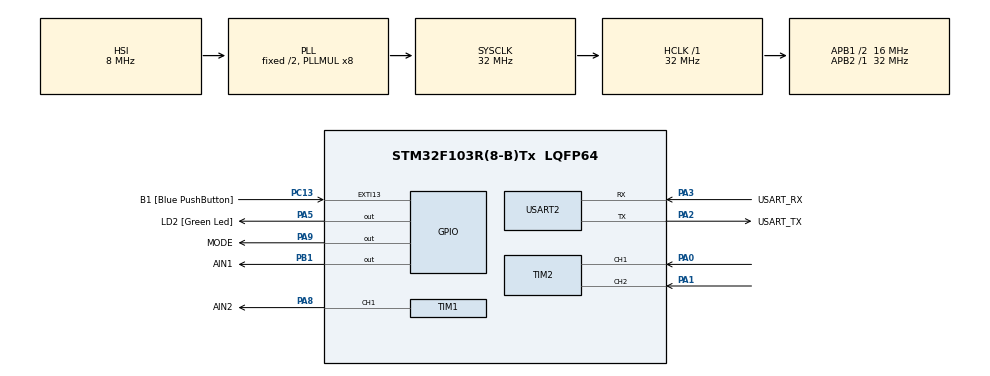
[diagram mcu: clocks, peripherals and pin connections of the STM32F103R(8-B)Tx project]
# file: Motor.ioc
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Mcu.Family=STM32F1
PA2.GPIO_PuPd=GPIO_NOPULL
PA14.GPIO_Label=TCK
PA3.GPIO_PuPd=GPIO_NOPULL
PA2.GPIO_Speed=GPIO_SPEED_FREQ_LOW
TIM2.EncoderMode=TIM_ENCODERMODE_TI12
PA3.GPIO_Speed=GPIO_SPEED_FREQ_LOW
RCC.SYSCLKSource=RCC_SYSCLKSOURCE_PLLCLK
ProjectManager.StackSize=0x400
PD1-OSC_OUT.Signal=RCC_OSC_OUT
TIM1.Prescaler=32-1
RCC.HCLKFreq_Value=32000000
RCC.APB2TimFreq_Value=32000000
RCC.AHBFreq_Value=32000000
NVIC.EXTI15_10_IRQn=true\:0\:0\:false\:false\:true\:true\:true
RCC.RTCClockSelection=RCC_RTCCLKSOURCE_LSE
RCC.PLLMUL=RCC_PLL_MUL8
PC14-OSC32_IN.Mode=LSE-External-Oscillator
TIM1.Channel-PWM\ Generation1\ CH1=TIM_CHANNEL_1
PA14.Mode=Serial_Wire
PA5.GPIO_PuPd=GPIO_NOPULL
PB1.GPIO_Label=AIN1
PA8.Signal=S_TIM1_CH1
TIM4.Period=1000-1
VP_TIM1_VS_ClockSourceINT.Mode=Internal
Mcu.Package=LQFP64
PB1.Signal=GPIO_Output
USART2.VirtualMode=VM_ASYNC
PC13-TAMPER-RTC.GPIO_PuPd=GPIO_NOPULL
PA2.GPIO_Label=USART_TX
RCC.APB1TimFreq_Value=32000000
TIM1.Period=1000-1
PA3.Signal=USART2_RX
PA2.GPIO_Mode=GPIO_MODE_AF_PP
PB3.GPIO_Label=SWO
PC15-OSC32_OUT.Mode=LSE-External-Oscillator
TIM4.AutoReloadPreload=TIM_AUTORELOAD_PRELOAD_DISABLE
PD1-OSC_OUT.Mode=HSE-External-Clock-Source
PA9.GPIO_Label=MODE
PC13-TAMPER-RTC.Signal=GPXTI13
PD0-OSC_IN.Signal=RCC_OSC_IN
RCC.APB1CLKDivider=RCC_HCLK_DIV2
PC14-OSC32_IN.Signal=RCC_OSC32_IN
PA0-WKUP.Signal=S_TIM2_CH1_ETR
PA13.Signal=SYS_JTMS-SWDIO
PA3.Mode=Asynchronous
SH.S_TIM2_CH2.0=TIM2_CH2,Encoder_Interface
PA8.GPIO_Label=AIN2
SH.S_TIM1_CH1.0=TIM1_CH1,PWM Generation1 CH1
ProjectManager.TargetToolchain=STM32CubeIDE
PA3.GPIO_Mode=GPIO_MODE_AF_PP
PA9.Signal=GPIO_Output
RCC.USBFreq_Value=32000000
TIM4.Prescaler=32000-1
PC15-OSC32_OUT.Signal=RCC_OSC32_OUT
PA1.Signal=S_TIM2_CH2
PD0-OSC_IN.Mode=HSE-External-Clock-Source
PA5.Signal=GPIO_Output
board=NUCLEO-F103RB
PC13-TAMPER-RTC.GPIO_Label=B1 [Blue PushButton]
RCC.APB2Freq_Value=32000000
PA5.GPIO_ModeDefaultOutputPP=GPIO_MODE_OUTPUT_PP
PA13.Mode=Serial_Wire
Mcu.Name=STM32F103R(8-B)Tx
PA13.GPIO_Label=TMS
PA2.Signal=USART2_TX
PB3.Signal=SYS_JTDO-TRACESWO
RCC.SYSCLKFreq_VALUE=32000000
PA5.GPIO_Label=LD2 [Green Led]
SH.S_TIM2_CH1_ETR.0=TIM2_CH1,Encoder_Interface
PA14.Signal=SYS_JTCK-SWCLK
ProjectManager.HeapSize=0x200
VP_TIM4_VS_ClockSourceINT.Mode=Internal
PA5.GPIO_Speed=GPIO_SPEED_FREQ_LOW
NVIC.PriorityGroup=NVIC_PRIORITYGROUP_4
PA2.Mode=Asynchronous
NVIC.TIM4_IRQn=true\:0\:0\:false\:false\:true\:true\:true
RCC.APB1Freq_Value=16000000
PA3.GPIO_Label=USART_RX

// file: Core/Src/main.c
/* USER CODE BEGIN Header */
/**
  ******************************************************************************
  * @file           : main.c
  * @brief          : Main program body
  ******************************************************************************
  * @attention
  *
  * <h2><center>&copy; Copyright (c) 2021 STMicroelectronics.
  * All rights reserved.</center></h2>
  *
  * This software component is licensed by ST under BSD 3-Clause license,
  * the "License"; You may not use this file except in compliance with the
  * License. You may obtain a copy of the License at:
  *                        opensource.org/licenses/BSD-3-Clause
  *
  ******************************************************************************
  */
/* USER CODE END Header */
#include "main.h"

/* USER CODE BEGIN Includes */
#include "stdio.h"
/* USER CODE END Includes */

TIM_HandleTypeDef htim1;
TIM_HandleTypeDef htim2;
TIM_HandleTypeDef htim4;

UART_HandleTypeDef huart2;

void SystemClock_Config(void);
static void MX_GPIO_Init(void);
static void MX_USART2_UART_Init(void);
static void MX_TIM1_Init(void);
static void MX_TIM2_Init(void);
static void MX_TIM4_Init(void);

/* USER CODE BEGIN 0 */
int __io_putchar(int ch){
    HAL_UART_Transmit(&huart2, (uint8_t *)&ch, 1, 100);
    return ch;
}

uint16_t read_encoder(void){
  uint16_t enc_buff = TIM2->CNT;
  TIM2->CNT = 0;
  return enc_buff;
}
/* USER CODE END 0 */

int main(void)
{

  /* MCU Configuration--------------------------------------------------------*/

  /* Reset of all peripherals, Initializes the Flash interface and the Systick. */
  HAL_Init();

  /* Configure the system clock */
  SystemClock_Config();

  /* Initialize all configured peripherals */
  MX_GPIO_Init();
  MX_USART2_UART_Init();
  MX_TIM1_Init();
  MX_TIM2_Init();
  MX_TIM4_Init();
  /* USER CODE BEGIN 2 */
  HAL_GPIO_WritePin(GPIOA, GPIO_PIN_9, 1);	// Mode selection
  // uint16_t count=0;
  HAL_TIM_Encoder_Start(&htim2, TIM_CHANNEL_ALL); // Start encoder
  HAL_GPIO_WritePin(GPIOB, GPIO_PIN_1, 1);	// Rotation direction
  setbuf(stdout, NULL);
  /* USER CODE END 2 */

  /* Infinite loop */
  /* USER CODE BEGIN WHILE */
  while (1)
  {
	HAL_GPIO_WritePin(GPIOB, GPIO_PIN_1, 1);	// Rotation direction
	__HAL_TIM_SET_COMPARE(&htim1, TIM_CHANNEL_1, 500);	// Sets the duty ratio, maximum value = Counter Period
	HAL_TIM_PWM_Start(&htim1, TIM_CHANNEL_1);	// Start PWM output
	// printf("Motor rotating... \n\r");
	HAL_Delay(1000);	// Rotate for 1 second
	// HAL_TIM_PWM_Stop(&htim1, TIM_CHANNEL_1);	// Stop PWM output
	// printf("Motor stopped... \n\r");
	// HAL_Delay(1000);	// Stop for 1 second
	/*
    // Reading the encoder value
	printf("Checking encoder... \n\r");
    count += read_encoder();    // Reading the encoder's value
    printf("Counted: %d\n\r",count);  // Display count value
    HAL_Delay(100);   // Wait a bit
	printf("Counted: %d\n\r",count);  // Display count value
	*/
    /* USER CODE END WHILE */

  }
}

void SystemClock_Config(void)
{
  RCC_OscInitTypeDef RCC_OscInitStruct = {0};
  RCC_ClkInitTypeDef RCC_ClkInitStruct = {0};

  /** Initializes the RCC Oscillators according to the specified parameters
  * in the RCC_OscInitTypeDef structure.
  */
  RCC_OscInitStruct.OscillatorType = RCC_OSCILLATORTYPE_HSI;
  RCC_OscInitStruct.HSIState = RCC_HSI_ON;
  RCC_OscInitStruct.HSICalibrationValue = RCC_HSICALIBRATION_DEFAULT;
  RCC_OscInitStruct.PLL.PLLState = RCC_PLL_ON;
  RCC_OscInitStruct.PLL.PLLSource = RCC_PLLSOURCE_HSI_DIV2;
  RCC_OscInitStruct.PLL.PLLMUL = RCC_PLL_MUL8;
  if (HAL_RCC_OscConfig(&RCC_OscInitStruct) != HAL_OK)
  {
    Error_Handler();
  }
  /** Initializes the CPU, AHB and APB buses clocks
  */
  RCC_ClkInitStruct.ClockType = RCC_CLOCKTYPE_HCLK|RCC_CLOCKTYPE_SYSCLK
                              |RCC_CLOCKTYPE_PCLK1|RCC_CLOCKTYPE_PCLK2;
  RCC_ClkInitStruct.SYSCLKSource = RCC_SYSCLKSOURCE_PLLCLK;
  RCC_ClkInitStruct.AHBCLKDivider = RCC_SYSCLK_DIV1;
  RCC_ClkInitStruct.APB1CLKDivider = RCC_HCLK_DIV2;
  RCC_ClkInitStruct.APB2CLKDivider = RCC_HCLK_DIV1;

  if (HAL_RCC_ClockConfig(&RCC_ClkInitStruct, FLASH_LATENCY_1) != HAL_OK)
  {
    Error_Handler();
  }
}

static void MX_TIM1_Init(void)
{

  TIM_ClockConfigTypeDef sClockSourceConfig = {0};
  TIM_MasterConfigTypeDef sMasterConfig = {0};
  TIM_OC_InitTypeDef sConfigOC = {0};
  TIM_BreakDeadTimeConfigTypeDef sBreakDeadTimeConfig = {0};

  htim1.Instance = TIM1;
  htim1.Init.Prescaler = 32-1;
  htim1.Init.CounterMode = TIM_COUNTERMODE_UP;
  htim1.Init.Period = 1000-1;
  htim1.Init.ClockDivision = TIM_CLOCKDIVISION_DIV1;
  htim1.Init.RepetitionCounter = 0;
  htim1.Init.AutoReloadPreload = TIM_AUTORELOAD_PRELOAD_DISABLE;
  if (HAL_TIM_Base_Init(&htim1) != HAL_OK)
  {
    Error_Handler();
  }
  sClockSourceConfig.ClockSource = TIM_CLOCKSOURCE_INTERNAL;
  if (HAL_TIM_ConfigClockSource(&htim1, &sClockSourceConfig) != HAL_OK)
  {
    Error_Handler();
  }
  if (HAL_TIM_PWM_Init(&htim1) != HAL_OK)
  {
    Error_Handler();
  }
  sMasterConfig.MasterOutputTrigger = TIM_TRGO_RESET;
  sMasterConfig.MasterSlaveMode = TIM_MASTERSLAVEMODE_DISABLE;
  if (HAL_TIMEx_MasterConfigSynchronization(&htim1, &sMasterConfig) != HAL_OK)
  {
    Error_Handler();
  }
  sConfigOC.OCMode = TIM_OCMODE_PWM1;
  sConfigOC.Pulse = 0;
  sConfigOC.OCPolarity = TIM_OCPOLARITY_HIGH;
  sConfigOC.OCNPolarity = TIM_OCNPOLARITY_HIGH;
  sConfigOC.OCFastMode = TIM_OCFAST_DISABLE;
  sConfigOC.OCIdleState = TIM_OCIDLESTATE_RESET;
  sConfigOC.OCNIdleState = TIM_OCNIDLESTATE_RESET;
  if (HAL_TIM_PWM_ConfigChannel(&htim1, &sConfigOC, TIM_CHANNEL_1) != HAL_OK)
  {
    Error_Handler();
  }
  sBreakDeadTimeConfig.OffStateRunMode = TIM_OSSR_DISABLE;
  sBreakDeadTimeConfig.OffStateIDLEMode = TIM_OSSI_DISABLE;
  sBreakDeadTimeConfig.LockLevel = TIM_LOCKLEVEL_OFF;
  sBreakDeadTimeConfig.DeadTime = 0;
  sBreakDeadTimeConfig.BreakState = TIM_BREAK_DISABLE;
  sBreakDeadTimeConfig.BreakPolarity = TIM_BREAKPOLARITY_HIGH;
  sBreakDeadTimeConfig.AutomaticOutput = TIM_AUTOMATICOUTPUT_DISABLE;
  if (HAL_TIMEx_ConfigBreakDeadTime(&htim1, &sBreakDeadTimeConfig) != HAL_OK)
  {
    Error_Handler();
  }
  HAL_TIM_MspPostInit(&htim1);

}

static void MX_TIM2_Init(void)
{

  TIM_Encoder_InitTypeDef sConfig = {0};
  TIM_MasterConfigTypeDef sMasterConfig = {0};

  htim2.Instance = TIM2;
  htim2.Init.Prescaler = 0;
  htim2.Init.CounterMode = TIM_COUNTERMODE_UP;
  htim2.Init.Period = 65535;
  htim2.Init.ClockDivision = TIM_CLOCKDIVISION_DIV1;
  htim2.Init.AutoReloadPreload = TIM_AUTORELOAD_PRELOAD_DISABLE;
  sConfig.EncoderMode = TIM_ENCODERMODE_TI12;
  sConfig.IC1Polarity = TIM_ICPOLARITY_RISING;
  sConfig.IC1Selection = TIM_ICSELECTION_DIRECTTI;
  sConfig.IC1Prescaler = TIM_ICPSC_DIV1;
  sConfig.IC1Filter = 0;
  sConfig.IC2Polarity = TIM_ICPOLARITY_RISING;
  sConfig.IC2Selection = TIM_ICSELECTION_DIRECTTI;
  sConfig.IC2Prescaler = TIM_ICPSC_DIV1;
  sConfig.IC2Filter = 0;
  if (HAL_TIM_Encoder_Init(&htim2, &sConfig) != HAL_OK)
  {
    Error_Handler();
  }
  sMasterConfig.MasterOutputTrigger = TIM_TRGO_RESET;
  sMasterConfig.MasterSlaveMode = TIM_MASTERSLAVEMODE_DISABLE;
  if (HAL_TIMEx_MasterConfigSynchronization(&htim2, &sMasterConfig) != HAL_OK)
  {
    Error_Handler();
  }

}

static void MX_TIM4_Init(void)
{

  TIM_ClockConfigTypeDef sClockSourceConfig = {0};
  TIM_MasterConfigTypeDef sMasterConfig = {0};

  htim4.Instance = TIM4;
  htim4.Init.Prescaler = 32000-1;
  htim4.Init.CounterMode = TIM_COUNTERMODE_UP;
  htim4.Init.Period = 1000-1;
  htim4.Init.ClockDivision = TIM_CLOCKDIVISION_DIV1;
  htim4.Init.AutoReloadPreload = TIM_AUTORELOAD_PRELOAD_DISABLE;
  if (HAL_TIM_Base_Init(&htim4) != HAL_OK)
  {
    Error_Handler();
  }
  sClockSourceConfig.ClockSource = TIM_CLOCKSOURCE_INTERNAL;
  if (HAL_TIM_ConfigClockSource(&htim4, &sClockSourceConfig) != HAL_OK)
  {
    Error_Handler();
  }
  sMasterConfig.MasterOutputTrigger = TIM_TRGO_RESET;
  sMasterConfig.MasterSlaveMode = TIM_MASTERSLAVEMODE_DISABLE;
  if (HAL_TIMEx_MasterConfigSynchronization(&htim4, &sMasterConfig) != HAL_OK)
  {
    Error_Handler();
  }
  /* USER CODE BEGIN TIM4_Init 2 */
  HAL_TIM_Base_Start_IT(&htim4);
  /* USER CODE END TIM4_Init 2 */

}

static void MX_USART2_UART_Init(void)
{

  huart2.Instance = USART2;
  huart2.Init.BaudRate = 115200;
  huart2.Init.WordLength = UART_WORDLENGTH_8B;
  huart2.Init.StopBits = UART_STOPBITS_1;
  huart2.Init.Parity = UART_PARITY_NONE;
  huart2.Init.Mode = UART_MODE_TX_RX;
  huart2.Init.HwFlowCtl = UART_HWCONTROL_NONE;
  huart2.Init.OverSampling = UART_OVERSAMPLING_16;
  if (HAL_UART_Init(&huart2) != HAL_OK)
  {
    Error_Handler();
  }

}

static void MX_GPIO_Init(void)
{
  GPIO_InitTypeDef GPIO_InitStruct = {0};

  /* GPIO Ports Clock Enable */
  __HAL_RCC_GPIOC_CLK_ENABLE();
  __HAL_RCC_GPIOD_CLK_ENABLE();
  __HAL_RCC_GPIOA_CLK_ENABLE();
  __HAL_RCC_GPIOB_CLK_ENABLE();

  /*Configure GPIO pin Output Level */
  HAL_GPIO_WritePin(GPIOA, LD2_Pin|MODE_Pin, GPIO_PIN_RESET);

  /*Configure GPIO pin Output Level */
  HAL_GPIO_WritePin(AIN1_GPIO_Port, AIN1_Pin, GPIO_PIN_RESET);

  /*Configure GPIO pin : B1_Pin */
  GPIO_InitStruct.Pin = B1_Pin;
  GPIO_InitStruct.Mode = GPIO_MODE_IT_RISING;
  GPIO_InitStruct.Pull = GPIO_NOPULL;
  HAL_GPIO_Init(B1_GPIO_Port, &GPIO_InitStruct);

  /*Configure GPIO pins : LD2_Pin MODE_Pin */
  GPIO_InitStruct.Pin = LD2_Pin|MODE_Pin;
  GPIO_InitStruct.Mode = GPIO_MODE_OUTPUT_PP;
  GPIO_InitStruct.Pull = GPIO_NOPULL;
  GPIO_InitStruct.Speed = GPIO_SPEED_FREQ_LOW;
  HAL_GPIO_Init(GPIOA, &GPIO_InitStruct);

  /*Configure GPIO pin : AIN1_Pin */
  GPIO_InitStruct.Pin = AIN1_Pin;
  GPIO_InitStruct.Mode = GPIO_MODE_OUTPUT_PP;
  GPIO_InitStruct.Pull = GPIO_NOPULL;
  GPIO_InitStruct.Speed = GPIO_SPEED_FREQ_LOW;
  HAL_GPIO_Init(AIN1_GPIO_Port, &GPIO_InitStruct);

  /* EXTI interrupt init*/
  HAL_NVIC_SetPriority(EXTI15_10_IRQn, 0, 0);
  HAL_NVIC_EnableIRQ(EXTI15_10_IRQn);

}

void Error_Handler(void)
{
  __disable_irq();
  while (1)
  {
  }
}

/************************ (C) COPYRIGHT STMicroelectronics *****END OF FILE****/
